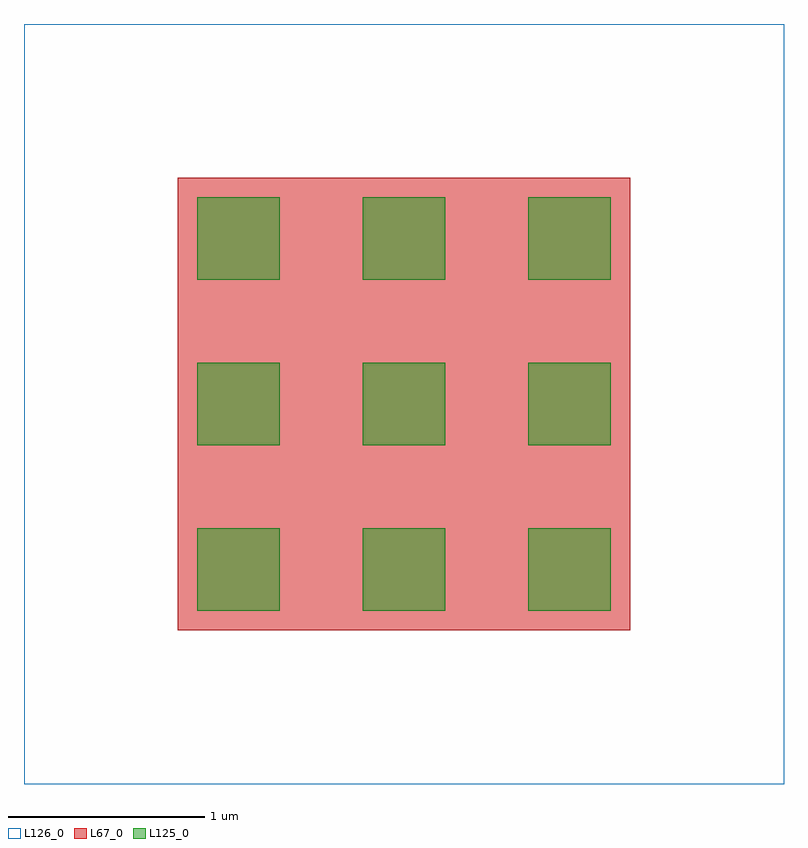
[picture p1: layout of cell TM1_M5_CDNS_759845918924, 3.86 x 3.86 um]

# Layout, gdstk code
import gdstk
lib = gdstk.Library(unit=1e-6, precision=1e-09)
def R(c, l, rs):  # rectangles x0, y0, x1, y1
    for r in rs: c.add(gdstk.rectangle(r[:2], r[2:], *l))
def A(c, l, x, y, w, h, nx, ny, dx, dy):  # array of equal rectangles
    R(c, l, [(x+i*dx, y+j*dy, x+i*dx+w, y+j*dy+h) for i in range(nx) for j in range(ny)])
L67_0 = (67, 0)
L125_0 = (125, 0)
L126_0 = (126, 0)

tm1_m5_cdns_759845918924 = lib.new_cell('TM1_M5_CDNS_759845918924')
R(tm1_m5_cdns_759845918924, L67_0, [(-1.15,-1.15,1.15,1.15)])
A(tm1_m5_cdns_759845918924, L125_0, -1.05, -1.05, 0.42, 0.42, 3, 3, 0.84, 0.84)
R(tm1_m5_cdns_759845918924, L126_0, [(-1.93,-1.93,1.93,1.93)])

lib.write_gds('TM1_M5_CDNS_759845918924.gds')
